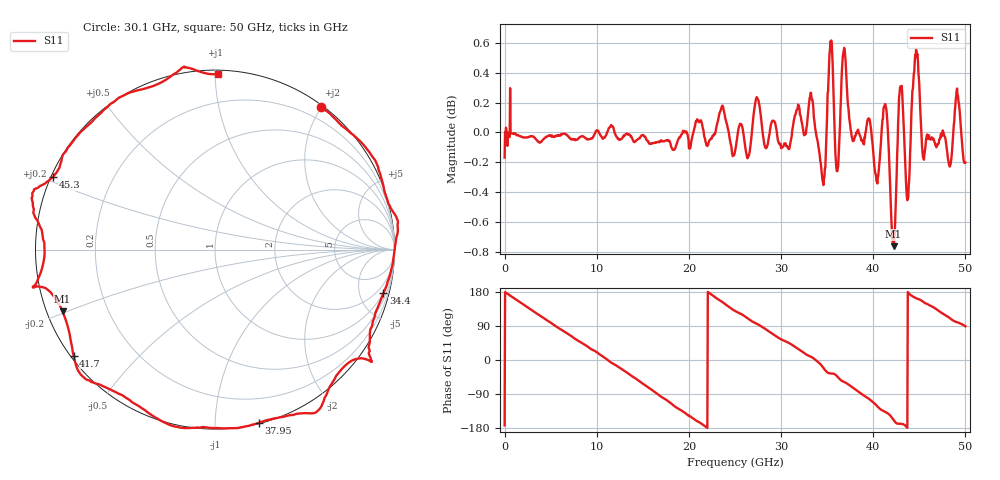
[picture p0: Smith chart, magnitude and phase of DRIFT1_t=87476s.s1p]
!Created with skrf (http://scikit-rf.org).
# Hz S RI R 50.0
!freq ReS11 ImS11
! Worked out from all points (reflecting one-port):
!   1001 points, 300 kHz to 50 GHz, reference 50 ohm
!   lowest |S11| = -0.8 dB at 42.2 GHz (marker M1), VSWR 22.89, Z = 2.27 - j9.71 ohm
!   phase of S11 starts at -173 deg and turns -818 deg over the sweep
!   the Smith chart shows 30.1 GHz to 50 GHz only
!   S11 on the Smith chart (normalised r, x): 30.1 GHz: 0.03, +1.99; 34.4 GHz: 0.97, -7.75; 37.95 GHz: 0.01, -1.28; 41.7 GHz: 0.01, -0.33; 45.3 GHz: 0.01, +0.21; 50 GHz: 0.02, +1.02
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300000  -0.973 -0.1241
1.450291e9  -0.9127 0.4038
3.25028e9  -0.593 0.8002
6.250262e9  0.1985 0.9787
9.500243e9  0.8871 0.4522
1.250022e10  0.9298 -0.3523
1.580021e10  0.2424 -0.9612
1.73502e10  -0.2113 -0.9706
1.875019e10  -0.5987 -0.7921
2.165017e10  -0.9897 -0.1228
2.345016e10  -0.9299 0.4123
2.500015e10  -0.6263 0.7612
2.745014e10  -0.082 1.023
3.010012e10  0.5897 0.7937
3.125011e10  0.7818 0.6285
3.32001e10  1.018 0.1614
3.440009e10  0.9384 -0.2424
3.520009e10  0.8651 -0.5989
3.750008e10  0.3775 -0.9321
3.795007e10  0.2436 -0.965
3.960006e10  -0.2388 -0.9813
4.170005e10  -0.7875 -0.5908
4.220005e10  -0.8494 -0.3436
4.290004e10  -1.013 -0.2117
4.375004e10  -0.9505 0.0113
4.530003e10  -0.9017 0.4055
4.765001e10  -0.5123 0.8579
5e10  0.0191 0.977
